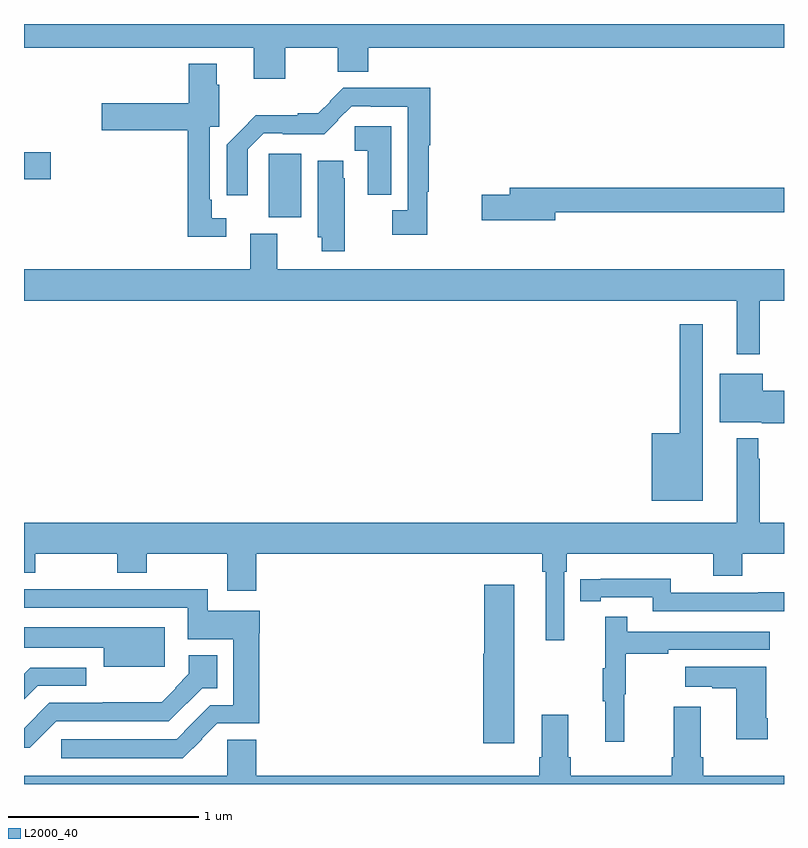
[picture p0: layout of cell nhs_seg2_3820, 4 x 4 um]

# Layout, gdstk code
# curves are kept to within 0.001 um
import gdstk
lib = gdstk.Library(unit=1e-6, precision=1e-09)
def R(c, l, rs):  # rectangles x0, y0, x1, y1
    for r in rs: c.add(gdstk.rectangle(r[:2], r[2:], *l))
def P(c, l, *ps):  # polygons
    for p in ps: c.add(gdstk.Polygon(p, *l))
L2000_40 = (2000, 40)

nhs_seg2_3820 = lib.new_cell('nhs_seg2_3820')
R(nhs_seg2_3820, L2000_40, [(314.288,606.782,314.458,607.116), (313,606.982,313.141,607.124)])
P(nhs_seg2_3820, L2000_40, [(317,607.8),(313,607.8),(313,607.676),(314.21,607.676),(314.21,607.512),(314.374,607.512),(314.374,607.676),(314.651,607.676),(314.651,607.55),(314.812,607.55),(314.812,607.676),(317,607.676)],
  [(314.065,606.777),(313.989,606.777),(313.989,606.874),(313.977,606.874),(313.977,607.26),(314.027,607.26),(314.027,607.481),(314.014,607.481),(314.014,607.591),(313.868,607.591),(313.868,607.383),(313.41,607.383),(313.41,607.241),(313.861,607.241),(313.861,606.68),(314.065,606.68)],
  [(315.122,606.916),(315.13,606.916),(315.13,607.161),(315.137,607.161),(315.137,607.465),(314.681,607.465),(314.609,607.393),(314.611,607.391),(314.549,607.329),(314.441,607.329),(314.441,607.321),(314.221,607.321),(314.066,607.164),(314.066,606.9),(314.178,606.9),(314.178,607.14),(314.262,607.224),(314.362,607.224),(314.362,607.22),(314.581,607.22),(314.655,607.293),(314.652,607.296),(314.724,607.368),(314.824,607.368),(314.824,607.364),(315.021,607.364),(315.021,606.82),(314.938,606.82),(314.938,606.692),(315.122,606.692)],
  [(314.932,607.262),(314.742,607.262),(314.742,607.133),(314.81,607.133),(314.81,606.901),(314.932,606.901)],
  [(314.689,606.987),(314.68,606.987),(314.68,607.081),(314.546,607.081),(314.546,606.678),(314.567,606.678),(314.567,606.603),(314.689,606.603)],
  [(315.796,606.81),(317,606.81),(317,606.938),(315.557,606.938),(315.557,606.902),(315.408,606.902),(315.408,606.767),(315.796,606.767)],
  [(316.873,606.344),(317,606.344),(317,606.508),(314.332,606.508),(314.332,606.697),(314.192,606.697),(314.192,606.508),(313,606.508),(313,606.344),(316.751,606.344),(316.751,606.063),(316.873,606.063)],
  [(316.573,606.22),(316.452,606.22),(316.452,605.647),(316.304,605.647),(316.304,605.291),(316.573,605.291)],
  [(317,605.871),(316.888,605.871),(316.888,605.959),(316.661,605.959),(316.661,605.705),(316.884,605.705),(316.884,605.699),(317,605.699)],
  [(315.843,604.916),(315.857,604.916),(315.857,605.012),(316.628,605.012),(316.628,604.895),(316.781,604.895),(316.781,605.012),(317,605.012),(317,605.176),(316.873,605.176),(316.873,605.513),(316.865,605.513),(316.865,605.62),(316.751,605.62),(316.751,605.176),(313,605.176),(313,604.913),(313.059,604.913),(313.059,605.012),(313.492,605.012),(313.492,604.913),(313.647,604.913),(313.647,605.012),(314.069,605.012),(314.069,604.818),(314.222,604.818),(314.222,605.012),(315.727,605.012),(315.727,604.916),(315.746,604.916),(315.746,604.557),(315.843,604.557)],
  [(317,604.808),(316.864,604.808),(316.864,604.806),(316.404,604.806),(316.404,604.879),(316.036,604.879),(316.036,604.878),(315.928,604.878),(315.928,604.762),(316.036,604.762),(316.036,604.782),(316.308,604.782),(316.308,604.71),(317,604.71)],
  [(315.58,604.849),(315.422,604.849),(315.422,604.485),(315.416,604.485),(315.416,604.014),(315.58,604.014)],
  [(313.937,604.036),(313.935,604.038),(314.016,604.119),(314.237,604.119),(314.237,604.593),(314.242,604.593),(314.242,604.711),(313.966,604.711),(313.966,604.826),(313.735,604.826),(313.735,604.824),(313.403,604.824),(313.403,604.826),(313.147,604.826),(313.147,604.824),(313,604.824),(313,604.728),(313.862,604.728),(313.862,604.562),(314.102,604.562),(314.102,604.215),(313.979,604.215),(313.882,604.118),(313.884,604.116),(313.803,604.035),(313.197,604.035),(313.197,603.935),(313.836,603.935)],
  [(316.16,604.272),(316.168,604.272),(316.168,604.486),(316.391,604.486),(316.391,604.506),(316.924,604.506),(316.924,604.602),(316.175,604.602),(316.175,604.681),(316.058,604.681),(316.058,604.409),(316.047,604.409),(316.047,604.235),(316.058,604.235),(316.058,604.023),(316.16,604.023)],
  [(313.74,604.624),(313,604.624),(313,604.517),(313.421,604.517),(313.421,604.418),(313.74,604.418)],
  [(313.17,604.131),(313.762,604.131),(313.937,604.304),(314.017,604.304),(314.017,604.477),(313.868,604.477),(313.868,604.379),(313.795,604.306),(313.798,604.303),(313.724,604.229),(313.414,604.229),(313.414,604.227),(313.134,604.227),(313,604.093),(313,603.992),(313.031,603.992)],
  [(316.914,604.147),(316.906,604.147),(316.906,604.417),(316.479,604.417),(316.479,604.313),(316.622,604.313),(316.622,604.303),(316.748,604.303),(316.748,604.035),(316.914,604.035)],
  [(313.072,604.317),(313.327,604.317),(313.327,604.413),(313.032,604.413),(313,604.381),(313,604.245)],
  [(317,603.844),(316.574,603.844),(316.574,603.94),(316.561,603.94),(316.561,604.207),(316.421,604.207),(316.421,603.94),(316.409,603.94),(316.409,603.844),(315.878,603.844),(315.878,603.94),(315.865,603.94),(315.865,604.165),(315.725,604.165),(315.725,603.94),(315.713,603.94),(315.713,603.844),(314.222,603.844),(314.222,604.034),(314.07,604.034),(314.07,603.844),(313,603.844),(313,603.8),(317,603.8)])

lib.write_gds('nhs_seg2_3820.gds')
